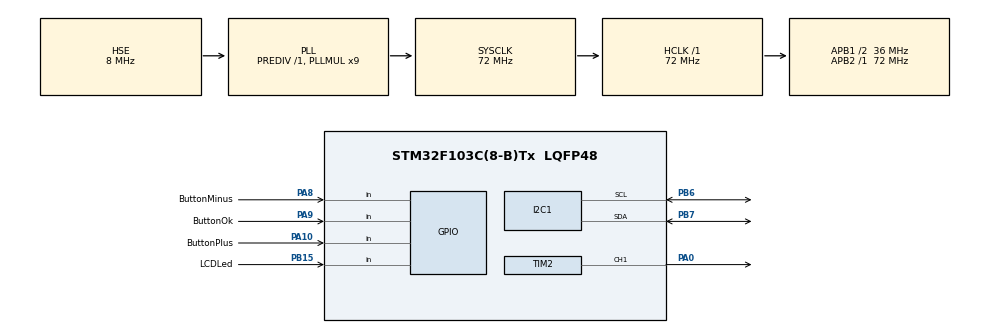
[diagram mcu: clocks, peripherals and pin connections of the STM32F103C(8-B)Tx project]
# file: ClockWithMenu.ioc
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Mcu.Family=STM32F1
Mcu.Name=STM32F103C(8-B)Tx
Mcu.Package=LQFP48
NVIC.PriorityGroup=NVIC_PRIORITYGROUP_4
PA0-WKUP.Signal=S_TIM2_CH1_ETR
PA10.GPIO_Label=ButtonPlus
PA10.Signal=GPIO_Input
PA13.Mode=Serial_Wire
PA13.Signal=SYS_JTMS-SWDIO
PA14.Mode=Serial_Wire
PA14.Signal=SYS_JTCK-SWCLK
PA8.GPIO_Label=ButtonMinus
PA8.Signal=GPIO_Input
PA9.GPIO_Label=ButtonOk
PA9.Signal=GPIO_Input
PB15.GPIO_Label=LCDLed
PB15.GPIO_PuPd=GPIO_PULLDOWN
PB15.Signal=GPIO_Input
PB6.Mode=I2C
PB6.Signal=I2C1_SCL
PB7.Mode=I2C
PB7.Signal=I2C1_SDA
PD0-OSC_IN.Mode=HSE-External-Oscillator
PD0-OSC_IN.Signal=RCC_OSC_IN
PD1-OSC_OUT.Mode=HSE-External-Oscillator
PD1-OSC_OUT.Signal=RCC_OSC_OUT
ProjectManager.HeapSize=0x200
ProjectManager.StackSize=0x400
ProjectManager.TargetToolchain=STM32CubeIDE
RCC.AHBFreq_Value=72000000
RCC.APB1CLKDivider=RCC_HCLK_DIV2
RCC.APB1Freq_Value=36000000
RCC.APB1TimFreq_Value=72000000
RCC.APB2Freq_Value=72000000
RCC.APB2TimFreq_Value=72000000
RCC.HCLKFreq_Value=72000000
RCC.PLLMUL=RCC_PLL_MUL9
RCC.PLLSourceVirtual=RCC_PLLSOURCE_HSE
RCC.SYSCLKFreq_VALUE=72000000
RCC.SYSCLKSource=RCC_SYSCLKSOURCE_PLLCLK
RCC.USBFreq_Value=72000000
SH.S_TIM2_CH1_ETR.0=TIM2_CH1,PWM Generation1 CH1
TIM2.Channel-PWM\ Generation1\ CH1=TIM_CHANNEL_1
TIM2.Period=1000
TIM2.Pulse-PWM\ Generation1\ CH1=500
VP_TIM2_VS_ClockSourceINT.Mode=Internal
board=custom

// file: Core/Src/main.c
/* USER CODE BEGIN Header */
/**
  ******************************************************************************
  * @file           : main.c
  * @brief          : Main program body
  ******************************************************************************
  * @attention
  *
  * Copyright (c) 2025 STMicroelectronics.
  * All rights reserved.
  *
  * This software is licensed under terms that can be found in the LICENSE file
  * in the root directory of this software component.
  * If no LICENSE file comes with this software, it is provided AS-IS.
  *
  ******************************************************************************
  */
/* USER CODE END Header */
#include "main.h"

/* USER CODE BEGIN Includes */
#include "RTC.h"
#include "liquidcrystal_i2c.h"
#include "stdio.h"
#include "stdlib.h"
#include "string.h"
#include "stdbool.h"
/* USER CODE END Includes */

/* USER CODE BEGIN PTD */
#define TIM_FREQ 72000000 ///< Frecuencia base para el cálculo del prescaler del temporizador.
/* USER CODE END PTD */

I2C_HandleTypeDef hi2c1;

TIM_HandleTypeDef htim2;

/* USER CODE BEGIN PV */

//------------------------------------------ MENUS ------------------------------------------//
/**
 * @brief Matrices que contienen las opciones de los menús.
 * Cada matriz representa un nivel diferente del menú.
 */
char *menu1[] = {"Configuracion", "Alarma", "Atras"}; ///< Menú principal.
int sizemenu1 = sizeof(menu1) / sizeof(menu1[0]); ///< Número de opciones en el menú principal.

char *menu2[] = {"Hora", "Fecha", "Atras"};
int sizemenu2 = sizeof(menu2) / sizeof(menu2[0]);

char *menu2_1[] = {"Encendido", "Configuracion", "SIG", "Atras"};
int sizemenu2_1 = sizeof(menu2_1) / sizeof(menu2_1[0]);

char *menu3_1[] = {"Hora", "Minutos", "Segundos", "Atras"}; ///< Opciones para la configuración de la hora.
int sizemenu3_1 = sizeof(menu3_1) / sizeof(menu3_1[0]);

char *menu3_2[] = {"Dia", "Mes", "Ano", "Atras"}; ///< Opciones para la configuración de la fecha.
int sizemenu3_2 = sizeof(menu3_2) / sizeof(menu3_2[0]);

char *menu3_3[] = {"ON", "OFF", "Atras"}; ///< Opciones para encender/apagar alarma o señal.
int sizemenu3_3 = sizeof(menu3_3) / sizeof(menu3_3[0]);

char *menu4[] = {"++", "--", "Atras"}; ///< Opciones para ajustar valores (incremento/decremento).
int sizemenu4 = sizeof(menu4) / sizeof(menu4[0]);

char *menu4_1[] = {"Reset", "Atras"}; ///< Opciones para resetear valores.
int sizemenu4_1 = sizeof(menu4_1) / sizeof(menu4_1[0]);

/**
 * @brief Buffers para las cadenas mostradas en la pantalla LCD.
 */
char linea1[20];
char linea2[20];
char linea3[20];
char linea4[20];

/**
 * @brief Variables para el control de los niveles del menú.
 */
int level_menu  = 0;
int level2_menu = 0;
int level3_menu = 0;
int level4_menu = 0;

int contador = 0; ///< Control de desplazamiento entre las opciones del menú.

bool btnpress = false; ///< Estado del botón OK.

//-------------------------------------------------------------------------------------------//

/**
 * @brief Buffers para datos adicionales como temperatura y humedad.
 */
char buffer[20];
char bufferSemana[10];
char *nombre;
int dia_semana_num;

/* Variables para la temperatura y humedad */
float temperaturaF, humedadF;
int temperaturaInt, humedadInt;

/* USER CODE END PV */

void SystemClock_Config(void);
static void MX_GPIO_Init(void);
static void MX_I2C1_Init(void);
static void MX_TIM2_Init(void);
/* USER CODE BEGIN PFP */

//-------------- Reloj --------------//
//Algoritmo de Zeller
/**
 * @brief Algoritmo de Zeller para determinar el día de la semana.
 * @param d Día del mes.
 * @param m Mes (ajustado para enero y febrero).
 * @param a Año.
 * @return Número del día de la semana (0=sábado, 1=domingo, ...).
 */
int dia_semana(int d, int m, int a);

/**
 * @brief Devuelve el nombre del día de la semana.
 * @param dia Número del día (0=sábado, 1=domingo, ...).
 * @return Cadena con el nombre del día.
 */
char* nombre_dia(int dia);
//-----------------------------------//

//-------------- MENU --------------//
/**
 * @brief Lógica principal para manejar las opciones del menú.
 */
void selectOption(void);

/**
 * @brief Cambia entre opciones del menú usando botones de incremento y decremento.
 * @param sizemenu Número de opciones en el menú actual.
 * @return true si hubo un cambio, false en caso contrario.
 */
bool fnSwitch(uint8_t sizemenu);

/**
 * @brief Muestra las opciones del menú actual en la pantalla LCD.
 * @param pos Posición actual dentro del menú.
 * @param menus Puntero al arreglo de opciones del menú.
 * @param sizemenu Tamaño del arreglo del menú.
 */
void fn_menu(int pos, char *menus[], uint8_t sizemenu);

/**
 * @brief Imprime el valor actual de una variable en la pantalla LCD.
 * @param label Etiqueta del valor (por ejemplo, "Hora").
 * @param value Valor a mostrar.
 */
void printCurrentValue(const char* label, int value);
//---------------------------------//

/**
 * @brief Calcula el prescaler necesario para una frecuencia deseada.
 * @param frequency Frecuencia deseada en Hz.
 * @return Valor del prescaler.
 */
int presForFrequency (int frequency);

/**
 * @brief Alterna el estado del retroiluminado de la pantalla LCD.
 */
void Toggle_Backlight(void);

/* USER CODE END PFP */

/* USER CODE BEGIN 0 */

// Variable para mantener el estado del retroiluminado
uint8_t backlightState = 0; // 0: Apagado, 1: Encendido
uint8_t previousButtonState = GPIO_PIN_RESET;
uint8_t currentButtonState;

//------ Control reloj ------//
TIME time;
ALARM1 alarma;

//Encendido de Alarma
bool Alarma = true;

//Encendido de SIG
bool SIG = true;
//---------------------------//

uint32_t lastUpdateTime = 0; // Variable para almacenar el último tiempo de actualización
const uint32_t updateInterval = 1000; // Intervalo de actualización en ms

float lastTemperaturaInt = -1.0; // Valor anterior de la temperatura para comparar
float lastHumedadInt = -1.0;     // Valor anterior de la humedad para comparar

int cadenaTemperatura = 0;		// Variable para controlar la cadena de actualización de temperatura
int lastCadenaTemperatura = -1; // Último valor de la cadena de temperatura

int anioBisiesto;

/* USER CODE END 0 */

int main(void)
{

  /* MCU Configuration--------------------------------------------------------*/

  /* Reset of all peripherals, Initializes the Flash interface and the Systick. */
  HAL_Init();

  /* Configure the system clock */
  SystemClock_Config();

  /* Initialize all configured peripherals */
  MX_GPIO_Init();
  MX_I2C1_Init();
  MX_TIM2_Init();
  /* USER CODE BEGIN 2 */

  //---------------- LCD ----------------//
  HD44780_Init(4);
  HD44780_Clear();
  HD44780_Backlight();
  //-------------------------------------//

  //---------------- Temperatura y humedad ----------------//
  // Inicialización de sensores.
  SI7021_Init();
  //-------------------------------------------------------//

  HAL_TIM_PWM_Start(&htim2, TIM_CHANNEL_1);

  //Si es la primera vez que se configura el módulo RTC, primero programar con la siguiente línea
  //RTC_SetTime(0, 0, 0, 1, 1, 25);
  //RTC_SetAlarm1(0, 0, 0);

  /* USER CODE END 2 */

  /* Infinite loop */
  /* USER CODE BEGIN WHILE */
  while (1)
  {
      // Actualizar la hora y la alarma desde el RTC.
      RTC_GetTime(&time);
      RTC_GetAlarm1(&alarma);

      // Determinar el día de la semana basado en la fecha actual.
      dia_semana_num = dia_semana(time.dayofmonth, time.month, time.year);
      nombre = nombre_dia(dia_semana_num);
	  /*---------------------------------------- */

      // Manejo de las opciones del menú.
      selectOption();

      // Actualizar datos de temperatura y humedad cada segundo.
      if (HAL_GetTick() - lastUpdateTime >= updateInterval)
      {
          Get_SI7021(&temperaturaF, &humedadF);

		  // Actualizar la temperatura solo si ha cambiado.
          if (lastHumedadInt != humedadF)
          {
              humedadInt = (int)humedadF;
          }

          lastUpdateTime = HAL_GetTick(); // Actualiza el límite de referencia.
      }

	  // PANTALLA PRINCIPAL
      // Lógica para la pantalla principal del sistema.
	  if(level_menu == 0)
	  {
		  // Mostrar hora.
		  sprintf(buffer, "%02d:%02d:%02d   ", time.hour, time.minutes, time.seconds);
		  HD44780_SetCursor(0, 0);
		  HD44780_PrintStr(buffer);

		  // Mostrar día de la semana.
		  HD44780_SetCursor(11, 0);
		  HD44780_PrintStr(nombre);

		  // Mostrar fecha.
		  sprintf(buffer, "%02d-%02d-20%02d     ", time.dayofmonth, time.month, time.year);
		  HD44780_SetCursor(0, 1);
		  HD44780_PrintStr(buffer);

          // Mostrar temperatura.
          sprintf(buffer, "T = %.1f", temperaturaF);
          HD44780_SetCursor(0, 2);
          HD44780_PrintStr(buffer);
          HD44780_PrintSpecialChar(6); // Símbolo de grados.
          HD44780_PrintStr("C");

          // Mostrar humedad.
          sprintf(buffer, "H = %02d %%", humedadInt);
          HD44780_SetCursor(0, 3);
          HD44780_PrintStr(buffer);

          // Manejo de señal SIG.
          if (SIG == true)
          {
              HD44780_SetCursor(15, 1);
              HD44780_PrintStr("SIG");

              if ((time.minutes == 0) && (time.seconds == 0))
              {
                  __HAL_TIM_SET_PRESCALER(&htim2, presForFrequency(7100));
                  HAL_Delay(250);
                  __HAL_TIM_SET_PRESCALER(&htim2, presForFrequency(0));
              }
          }

          // Manejo de alarma.
          if (Alarma == true)
          {
              sprintf(buffer, "%02d:%02d:%02d", alarma.hour, alarma.minutes, alarma.seconds);
              HD44780_SetCursor(12, 2);
              HD44780_PrintStr(buffer);

              HD44780_SetCursor(19, 1);
              HD44780_PrintSpecialChar(5);

              if ((alarma.hour == time.hour) && (alarma.minutes == time.minutes) && (alarma.seconds == time.seconds))
              {
                  __HAL_TIM_SET_PRESCALER(&htim2, presForFrequency(8700));
                  HAL_Delay(125);
                  __HAL_TIM_SET_PRESCALER(&htim2, presForFrequency(7100));
                  HAL_Delay(125);
                  __HAL_TIM_SET_PRESCALER(&htim2, presForFrequency(8700));
                  HAL_Delay(125);
                  __HAL_TIM_SET_PRESCALER(&htim2, presForFrequency(7100));
                  HAL_Delay(125);
                  __HAL_TIM_SET_PRESCALER(&htim2, presForFrequency(8700));
                  HAL_Delay(125);
                  __HAL_TIM_SET_PRESCALER(&htim2, presForFrequency(0));
              }
          }
          else if(Alarma == false)
	      {
	    	  sprintf(buffer, "        ");
	    	  HD44780_SetCursor(12, 2);
	    	  HD44780_PrintStr(buffer);
	      }

          // Entrar al menú principal al presionar el botón.
          if (btnpress)
          {
              level_menu = 1;
              fn_menu(contador, menu1, sizemenu1);
              btnpress = false;
          }
	  }

	  // MENU 1 PRINCIPAL
      // Lógica para el menú principal.
      if (level_menu == 1)
      {
          // Navegar entre opciones del menú principal.
          if (fnSwitch(sizemenu1))
          {
              fn_menu(contador, menu1, sizemenu1);
          }

          // Selección de opciones en el menú principal.
          if (btnpress)
          {
              if (contador == 0) // Configuración.
              {
                  contador = 0;
                  fn_menu(contador, menu2, sizemenu2);
                  level_menu = 2;
              }
              else if (contador == 1) // Mostrar Alarma.
              {
                  contador = 0;
                  fn_menu(contador, menu2_1, sizemenu2_1);
                  level_menu = 3;
              }
              else if (contador == 2) // Atrás.
              {
                  contador = 0;
                  level_menu = 0;
              }
              btnpress = false;
          }
      }

	  // Detección del botón y alternar el estado del retroiluminado
	  currentButtonState = HAL_GPIO_ReadPin(LCDLed_GPIO_Port, LCDLed_Pin);
	  if (currentButtonState == GPIO_PIN_SET && previousButtonState == GPIO_PIN_RESET)
	  {
		  Toggle_Backlight();
	  }
	  previousButtonState = currentButtonState;

	  // MENU 2 {"HORA", "FECHA", "ATRAS"}
	  if (level_menu == 2)
	  {
		  if (level2_menu == 0)
		  {
			  if (fnSwitch(sizemenu2))
			  {
				  fn_menu(contador, menu2, sizemenu2);
			  }
			  if (btnpress)
			  {
				  if (contador == 0) //HORA
				  {
					  contador = 0;
					  fn_menu(contador, menu3_1, sizemenu3_1);
					  level2_menu = 1;
				  }
				  else if (contador == 1) //FECHA
				  {
					  contador = 0;
					  fn_menu(contador, menu3_2, sizemenu3_2);
					  level2_menu = 2;
				  }
				  else if (contador == 2) //ATRAS
				  {
					  contador = 0;
					  fn_menu(contador, menu1, sizemenu1);
					  level_menu = 1;
				  }
				  btnpress = false;
			  }
		  }

		  // MENU 3_1 : {"Hora", "Minutos", "Segundos", "Atras"}
		  if (level2_menu == 1)
		  {
			  if(level3_menu == 0)
			  {
				  if (fnSwitch(sizemenu3_1))
				  {
					  fn_menu(contador, menu3_1, sizemenu3_1);
				  }
				  if (btnpress)
				  {
					  if (contador == 0) //Hora
					  {
						  contador = 0;
						  fn_menu(contador, menu4, sizemenu4);
						  level3_menu = 1;
					  }
					  else if (contador == 1) //Minutos
					  {
						  contador = 0;
						  fn_menu(contador, menu4, sizemenu4);
						  level3_menu = 2;
					  }
					  else if (contador == 2) //Segundos
					  {
						  contador = 0;
						  fn_menu(contador, menu4_1, sizemenu4_1);
						  level3_menu = 3;
					  }
					  else if (contador == 3) //Atrás
					  {
						  contador = 0;
						  fn_menu(contador, menu2, sizemenu2);
						  level2_menu = 0;
					  }
					  btnpress = false;
				  }
			  }
		  }

		  // MENU 3_2: Configuración de Fecha
		  if (level2_menu == 2)
		  {
			  if(level3_menu == 0)
			  {
				  if (fnSwitch(sizemenu3_2))
				  {
					  fn_menu(contador, menu3_2, sizemenu3_2);
				  }
				  if (btnpress)
				  {
					  if (contador == 0) //Dia
					  {
						  contador = 0;
						  fn_menu(contador, menu4, sizemenu4);
						  level3_menu = 4;
					  }
					  else if (contador == 1) //Mes
					  {
						  contador = 0;
						  fn_menu(contador, menu4, sizemenu4);
						  level3_menu = 5;
					  }
					  else if (contador == 2) //Año
					  {
						  contador = 0;
						  fn_menu(contador, menu4, sizemenu4);
						  level3_menu = 6;
					  }
					  else if (contador == 3) //Atrás
					  {
						  contador = 0;
						  fn_menu(contador, menu2, sizemenu2);
						  level2_menu = 0;
					  }
					  btnpress = false;
				  }
			  }
		  }

		  // Configuración Horas
		  if (level3_menu == 1)
		  {
			  if (fnSwitch(sizemenu4))
			  {
				  fn_menu(contador, menu4, sizemenu4);
				  printCurrentValue("Hora", time.hour);
			  }
			  if (btnpress)
			  {
				  printCurrentValue("Hora", time.hour);
				  if (contador == 0) //++
				  {
					  time.hour++;
					  if(time.hour > 23)
					  {
						  time.hour = 0;
					  }
					  RTC_SetTime(time.hour, time.minutes, time.seconds, time.dayofmonth, time.month, time.year);
				  }
				  else if (contador == 1) //--
				  {
					  time.hour--;
					  if(time.hour < 0)
					  {
						  time.hour = 23;
					  }
					  RTC_SetTime(time.hour, time.minutes, time.seconds, time.dayofmonth, time.month, time.year);
				  }
				  else if (contador == 2) //Atras
				  {
					  contador = 0;
					  fn_menu(contador, menu3_1, sizemenu3_1);
					  level3_menu = 0;
				  }
				  printCurrentValue("Hora", time.hour);
				  btnpress = false;
			  }
		  }

		  // Configuración minutos
		  if (level3_menu == 2)
		  {
			  if (fnSwitch(sizemenu4))
			  {
				  fn_menu(contador, menu4, sizemenu4);
				  printCurrentValue("Minutos", time.minutes);
			  }
			  if (btnpress)
			  {
				  printCurrentValue("Minutos", time.minutes);
				  if (contador == 0) //++
				  {
					  time.minutes++;
					  if(time.minutes > 59)
					  {
						  time.minutes = 0;
					  }
					  RTC_SetTime(time.hour, time.minutes, time.seconds, time.dayofmonth, time.month, time.year);
				  }
				  else if (contador == 1) //--
				  {
					  time.minutes--;
					  if(time.minutes <= 0)
					  {
						  time.minutes = 0;
					  }
					  RTC_SetTime(time.hour, time.minutes, time.seconds, time.dayofmonth, time.month, time.year);
				  }
				  else if (contador == 2) //Atras
				  {
					  contador = 0;
					  fn_menu(contador, menu3_1, sizemenu3_1);
					  level3_menu = 0;
				  }
				  printCurrentValue("Minutos", time.minutes);
				  btnpress = false;
			  }
		  }

		  // Configuración segundos
		  if (level3_menu == 3)
		  {
			  if (fnSwitch(sizemenu4_1))
			  {
				  fn_menu(contador, menu4_1, sizemenu4_1);
				  printCurrentValue("Segundos", time.seconds);
			  }
			  if (btnpress)
			  {
				  printCurrentValue("Segundos", time.seconds);
				  if (contador == 0) //Reset
				  {
					  time.seconds = 0;
					  RTC_SetTime(time.hour, time.minutes, time.seconds, time.dayofmonth, time.month, time.year);
				  }
				  else if (contador == 1) //Atras
				  {
					  contador = 0;
					  fn_menu(contador, menu3_1, sizemenu3_1);
					  level3_menu = 0;
				  }
				  printCurrentValue("Segundos", time.seconds);
				  btnpress = false;
			  }
		  }

		  /**
		   * @brief Configuración del día en el sistema de menús.
		   * Este bloque de código permite ajustar el día del mes en función del mes actual
		   * y considera años bisiestos para el mes de febrero.
		   */

		  // Configuración del día
		  // Summary: Este bloque maneja el incremento y la disminución del día del mes con lógica envolvente,
		  // asegurando límites correctos para cada mes y años bisiestos (febrero).).
		  if (level3_menu == 4)
		  {
			  // Manejo de cambios en el menú (botones incrementales y decrementales)
			  if (fnSwitch(sizemenu4))
			  {
				  // Mostrar opciones de menú e imprimir el valor actual del día
				  fn_menu(contador, menu4, sizemenu4);
				  printCurrentValue("Dia", time.dayofmonth);
			  }

			  // Manejo de la selección con el botón OK
			  if (btnpress)
			  {
				  printCurrentValue("Dia", time.dayofmonth);

				  if (contador == 0) // Incrementar el día (++).
		          {
		              time.dayofmonth++;

		              // Verificar el límite superior del día dependiendo del mes
		              if ((time.month == 1 || time.month == 3 || time.month == 5 || time.month == 7 ||
		                   time.month == 8 || time.month == 10 || time.month == 12) && time.dayofmonth > 31)
		              {
		                  time.dayofmonth = 1;
		              }
		              else if ((time.month == 4 || time.month == 6 || time.month == 9 || time.month == 11) && time.dayofmonth > 30)
		              {
		                  time.dayofmonth = 1;
		              }
		              else if (time.month == 2)
		              {
		                  // Verificar si el año es bisiesto para determinar los días de febrero
						  anioBisiesto = ((time.year % 4 == 0 && time.year % 100 != 0) || (time.year % 400 == 0));
						  if ((anioBisiesto && time.dayofmonth > 29) || (!anioBisiesto && time.dayofmonth > 28))
						  {
							  time.dayofmonth = 1;
						  }
		              }

		              // Actualizar la hora en el RTC con el nuevo día
		              RTC_SetTime(time.hour, time.minutes, time.seconds, time.dayofmonth, time.month, time.year);
		          }
		          else if (contador == 1) // Decrementar el día (--).
		          {
		              time.dayofmonth--;

		              // Verificar el límite inferior del día
		              if (time.dayofmonth < 1)
		              {
		                  if (time.month == 1 || time.month == 3 || time.month == 5 || time.month == 7 ||
		                      time.month == 8 || time.month == 10 || time.month == 12)
		                  {
		                      time.dayofmonth = 31;
		                  }
		                  else if (time.month == 4 || time.month == 6 || time.month == 9 || time.month == 11)
		                  {
		                      time.dayofmonth = 30;
		                  }
		                  else if (time.month == 2)
		                  {
		                      // Verificar si el año es bisiesto para determinar los días de febrero
							  anioBisiesto = ((time.year % 4 == 0 && time.year % 100 != 0) || (time.year % 400 == 0));
							  time.dayofmonth = anioBisiesto ? 29 : 28;
		                  }
		              }

		              // Actualizar la hora en el RTC con el nuevo día
		              RTC_SetTime(time.hour, time.minutes, time.seconds, time.dayofmonth, time.month, time.year);
		          }
		          else if (contador == 2) // Regresar al menú anterior.
		          {
		              contador = 0;
		              fn_menu(contador, menu3_2, sizemenu3_2);
		              level3_menu = 0;
		          }

		          // Imprimir el valor actualizado del día
		          printCurrentValue("Dia", time.dayofmonth);
		          btnpress = false; // Restablecer el estado del botón
		      }
		  }

		  // Configuración mes
		  if (level3_menu == 5)
		  {
			  if (fnSwitch(sizemenu4))
			  {
				  fn_menu(contador, menu4, sizemenu4);
				  printCurrentValue("Mes", time.month);
			  }
			  if (btnpress)
			  {
				  printCurrentValue("Mes", time.month);
				  if (contador == 0) //++
				  {
					  time.month++;
					  if(time.month > 12)
					  {
						  time.month = 1;
					  }
					  RTC_SetTime(time.hour, time.minutes, time.seconds, time.dayofmonth, time.month, time.year);
				  }
				  else if (contador == 1) //--
				  {
					  time.month--;
					  if(time.month <= 0)
					  {
						  time.month = 12;
					  }
					  RTC_SetTime(time.hour, time.minutes, time.seconds, time.dayofmonth, time.month, time.year);
				  }
				  else if (contador == 2) //Atras
				  {
					  contador = 0;
					  fn_menu(contador, menu3_2, sizemenu3_2);
					  level3_menu = 0;
				  }
				  printCurrentValue("Mes", time.month);
				  btnpress = false;
			  }
		  }

		  // Configuración año
		  if (level3_menu == 6)
		  {
			  if (fnSwitch(sizemenu4))
			  {
				  fn_menu(contador, menu4, sizemenu4);
				  printCurrentValue("Anio", time.year);
			  }
			  if (btnpress)
			  {
				  printCurrentValue("Anio", time.year);
				  if (contador == 0) //++
				  {
					  time.year++;
					  RTC_SetTime(time.hour, time.minutes, time.seconds, time.dayofmonth, time.month, time.year);
				  }
				  else if (contador == 1) //--
				  {
					  time.year--;
					  RTC_SetTime(time.hour, time.minutes, time.seconds, time.dayofmonth, time.month, time.year);
				  }
				  else if (contador == 2) //Atras
				  {
					  contador = 0;
					  fn_menu(contador, menu3_2, sizemenu3_2);
					  level3_menu = 0;
				  }
				  printCurrentValue("Anio", time.year);
				  btnpress = false;
			  }
		  }
	  }

	  if(level_menu == 3)
	  {
		  if (level2_menu == 0)
		  {
			  if (fnSwitch(sizemenu2_1))
			  {
				  fn_menu(contador, menu2_1, sizemenu2_1);
			  }
			  if (btnpress)
			  {
				  if (contador == 0) //Encendido
				  {
					  contador = 0;
					  fn_menu(contador, menu3_3, sizemenu3_3);
					  level2_menu = 1;
				  }
				  else if (contador == 1) //Configuracion
				  {
					  contador = 0;
					  fn_menu(contador, menu3_1, sizemenu3_1);
					  level2_menu = 2;
				  }
				  else if(contador == 2)	//SIG
				  {
					  contador = 0;
					  fn_menu(contador, menu3_3, sizemenu3_3);
					  level2_menu = 3;
				  }
				  else if (contador == 3) //ATRAS
				  {
					  contador = 0;
					  fn_menu(contador, menu1, sizemenu1);
					  level_menu = 1;
				  }
				  btnpress = false;
			  }
		  }

		  if(level2_menu == 1)
		  {
			  if (fnSwitch(sizemenu3_3))
			  {
				  fn_menu(contador, menu3_3, sizemenu3_3);
			  }
			  if (btnpress)
			  {
				  if (contador == 0) 		//ON
				  {
					  Alarma = true;
				  }
				  else if (contador == 1) //OFF
				  {
					  Alarma = false;
				  }
				  else if (contador == 2) //ATRAS
				  {
					  contador = 0;
					  fn_menu(contador, menu2_1, sizemenu2_1);
					  level2_menu = 0;
				  }
				  btnpress = false;
			  }
		  }

		  // MENU 3_1 : {"Hora", "Minutos", "Segundos"}
		  if (level2_menu == 2)
		  {
			  if(level3_menu == 0)
			  {
				  if (fnSwitch(sizemenu3_1))
				  {
					  fn_menu(contador, menu3_1, sizemenu3_1);
				  }
				  if (btnpress)
				  {
					  if (contador == 0) //Hora
					  {
						  contador = 0;
						  fn_menu(contador, menu4, sizemenu4);
						  level3_menu = 1;
					  }
					  else if (contador == 1) //Minutos
					  {
						  contador = 0;
						  fn_menu(contador, menu4, sizemenu4);
						  level3_menu = 2;
					  }
					  else if (contador == 2) //Segundos
					  {
						  contador = 0;
						  fn_menu(contador, menu4, sizemenu4);
						  level3_menu = 3;
					  }
					  else if (contador == 3) //Atrás
					  {
						  contador = 0;
						  fn_menu(contador, menu2_1, sizemenu2_1);
						  level2_menu = 0;
					  }
					  btnpress = false;
				  }
			  }
		  }

		  if(level2_menu == 3)
		  {
			  if (fnSwitch(sizemenu3_3))
			  {
				  fn_menu(contador, menu3_3, sizemenu3_3);
			  }
			  if (btnpress)
			  {
				  if (contador == 0) 		//ON
				  {
					  SIG = true;
				  }
				  else if (contador == 1) //OFF
				  {
					  SIG = false;
				  }
				  else if (contador == 2) //ATRAS
				  {
					  contador = 0;
					  fn_menu(contador, menu2_1, sizemenu2_1);
					  level2_menu = 0;
				  }
				  btnpress = false;
			  }
		  }

		  // Configuración Horas
		  if (level3_menu == 1)
		  {
			  if (fnSwitch(sizemenu4))
			  {
				  fn_menu(contador, menu4, sizemenu4);
				  printCurrentValue("AlarmH", alarma.hour);
			  }
			  if (btnpress)
			  {
				  printCurrentValue("AlarmH", alarma.hour);
				  if (contador == 0) //++
				  {
					  alarma.hour = adjustHour(alarma.hour, 1);
					  RTC_SetAlarm1(alarma.hour, alarma.minutes, alarma.seconds);
				  }
				  else if (contador == 1) //--
				  {
					  alarma.hour = adjustHour(alarma.hour, -1);
					  RTC_SetAlarm1(alarma.hour, alarma.minutes, alarma.seconds);
				  }
				  else if (contador == 2) //Atras
				  {
					  contador = 0;
					  fn_menu(contador, menu3_1, sizemenu3_1);
					  level3_menu = 0;
				  }
				  printCurrentValue("AlarmH", alarma.hour);
				  btnpress = false;
			  }
		  }

		  // Configuración minutos
		  if (level3_menu == 2)
		  {
			  if (fnSwitch(sizemenu4))
			  {
				  fn_menu(contador, menu4, sizemenu4);
				  printCurrentValue("AlarmM", alarma.minutes);
			  }
			  if (btnpress)
			  {
				  printCurrentValue("AlarmM", alarma.minutes);
				  if (contador == 0) //++
				  {
					  alarma.minutes++;
					  if(alarma.minutes > 59)
					  {
						  alarma.minutes = 0;
					  }
					  RTC_SetAlarm1(alarma.hour, alarma.minutes, alarma.seconds);
				  }
				  else if (contador == 1) //--
				  {
					  alarma.minutes--;
					  // Si ocurre underflow (menor que 0), volver a 59
					  if(alarma.minutes == 0)
					  {
						  alarma.minutes = 59;
					  }
					  RTC_SetAlarm1(alarma.hour, alarma.minutes, alarma.seconds);
				  }
				  else if (contador == 2) //Atras
				  {
					  contador = 0;
					  fn_menu(contador, menu3_1, sizemenu3_1);
					  level3_menu = 0;
				  }
				  printCurrentValue("AlarmM", alarma.minutes);
				  btnpress = false;
			  }
		  }

		  // Configuración segundos
		  if (level3_menu == 3)
		  {
			  if (fnSwitch(sizemenu4))
			  {
				  fn_menu(contador, menu4, sizemenu4);
				  printCurrentValue("AlarmS", alarma.seconds);
			  }
			  if (btnpress)
			  {
				  printCurrentValue("AlarmS", alarma.seconds);
				  if (contador == 0) //++
				  {
					  alarma.seconds++;
					  if(alarma.seconds > 59)
					  {
						  alarma.seconds = 0;
					  }
					  RTC_SetAlarm1(alarma.hour, alarma.minutes, alarma.seconds);
				  }
				  else if (contador == 1) //--
				  {
					  alarma.seconds--;
					  if(alarma.seconds < 0)
					  {
						  alarma.seconds = 59;
					  }
					  RTC_SetAlarm1(alarma.hour, alarma.minutes, alarma.seconds);
				  }
				  else if (contador == 2) //Atras
				  {
					  contador = 0;
					  fn_menu(contador, menu3_1, sizemenu3_1);
					  level3_menu = 0;
				  }
				  printCurrentValue("AlarmS", alarma.seconds);
				  btnpress = false;
			  }
		  }
	  }

    /* USER CODE END WHILE */

  }
}

void SystemClock_Config(void)
{
  RCC_OscInitTypeDef RCC_OscInitStruct = {0};
  RCC_ClkInitTypeDef RCC_ClkInitStruct = {0};

  /** Initializes the RCC Oscillators according to the specified parameters
  * in the RCC_OscInitTypeDef structure.
  */
  RCC_OscInitStruct.OscillatorType = RCC_OSCILLATORTYPE_HSE;
  RCC_OscInitStruct.HSEState = RCC_HSE_ON;
  RCC_OscInitStruct.HSEPredivValue = RCC_HSE_PREDIV_DIV1;
  RCC_OscInitStruct.HSIState = RCC_HSI_ON;
  RCC_OscInitStruct.PLL.PLLState = RCC_PLL_ON;
  RCC_OscInitStruct.PLL.PLLSource = RCC_PLLSOURCE_HSE;
  RCC_OscInitStruct.PLL.PLLMUL = RCC_PLL_MUL9;
  if (HAL_RCC_OscConfig(&RCC_OscInitStruct) != HAL_OK)
  {
    Error_Handler();
  }

  /** Initializes the CPU, AHB and APB buses clocks
  */
  RCC_ClkInitStruct.ClockType = RCC_CLOCKTYPE_HCLK|RCC_CLOCKTYPE_SYSCLK
                              |RCC_CLOCKTYPE_PCLK1|RCC_CLOCKTYPE_PCLK2;
  RCC_ClkInitStruct.SYSCLKSource = RCC_SYSCLKSOURCE_PLLCLK;
  RCC_ClkInitStruct.AHBCLKDivider = RCC_SYSCLK_DIV1;
  RCC_ClkInitStruct.APB1CLKDivider = RCC_HCLK_DIV2;
  RCC_ClkInitStruct.APB2CLKDivider = RCC_HCLK_DIV1;

  if (HAL_RCC_ClockConfig(&RCC_ClkInitStruct, FLASH_LATENCY_2) != HAL_OK)
  {
    Error_Handler();
  }
}

static void MX_I2C1_Init(void)
{

  hi2c1.Instance = I2C1;
  hi2c1.Init.ClockSpeed = 100000;
  hi2c1.Init.DutyCycle = I2C_DUTYCYCLE_2;
  hi2c1.Init.OwnAddress1 = 0;
  hi2c1.Init.AddressingMode = I2C_ADDRESSINGMODE_7BIT;
  hi2c1.Init.DualAddressMode = I2C_DUALADDRESS_DISABLE;
  hi2c1.Init.OwnAddress2 = 0;
  hi2c1.Init.GeneralCallMode = I2C_GENERALCALL_DISABLE;
  hi2c1.Init.NoStretchMode = I2C_NOSTRETCH_DISABLE;
  if (HAL_I2C_Init(&hi2c1) != HAL_OK)
  {
    Error_Handler();
  }

}

static void MX_TIM2_Init(void)
{

  TIM_ClockConfigTypeDef sClockSourceConfig = {0};
  TIM_MasterConfigTypeDef sMasterConfig = {0};
  TIM_OC_InitTypeDef sConfigOC = {0};

  htim2.Instance = TIM2;
  htim2.Init.Prescaler = 0;
  htim2.Init.CounterMode = TIM_COUNTERMODE_UP;
  htim2.Init.Period = 1000;
  htim2.Init.ClockDivision = TIM_CLOCKDIVISION_DIV1;
  htim2.Init.AutoReloadPreload = TIM_AUTORELOAD_PRELOAD_DISABLE;
  if (HAL_TIM_Base_Init(&htim2) != HAL_OK)
  {
    Error_Handler();
  }
  sClockSourceConfig.ClockSource = TIM_CLOCKSOURCE_INTERNAL;
  if (HAL_TIM_ConfigClockSource(&htim2, &sClockSourceConfig) != HAL_OK)
  {
    Error_Handler();
  }
  if (HAL_TIM_PWM_Init(&htim2) != HAL_OK)
  {
    Error_Handler();
  }
  sMasterConfig.MasterOutputTrigger = TIM_TRGO_RESET;
  sMasterConfig.MasterSlaveMode = TIM_MASTERSLAVEMODE_DISABLE;
  if (HAL_TIMEx_MasterConfigSynchronization(&htim2, &sMasterConfig) != HAL_OK)
  {
    Error_Handler();
  }
  sConfigOC.OCMode = TIM_OCMODE_PWM1;
  sConfigOC.Pulse = 500;
  sConfigOC.OCPolarity = TIM_OCPOLARITY_HIGH;
  sConfigOC.OCFastMode = TIM_OCFAST_DISABLE;
  if (HAL_TIM_PWM_ConfigChannel(&htim2, &sConfigOC, TIM_CHANNEL_1) != HAL_OK)
  {
    Error_Handler();
  }
  HAL_TIM_MspPostInit(&htim2);

}

static void MX_GPIO_Init(void)
{
  GPIO_InitTypeDef GPIO_InitStruct = {0};

  /* GPIO Ports Clock Enable */
  __HAL_RCC_GPIOD_CLK_ENABLE();
  __HAL_RCC_GPIOA_CLK_ENABLE();
  __HAL_RCC_GPIOB_CLK_ENABLE();

  /*Configure GPIO pin : LCDLed_Pin */
  GPIO_InitStruct.Pin = LCDLed_Pin;
  GPIO_InitStruct.Mode = GPIO_MODE_INPUT;
  GPIO_InitStruct.Pull = GPIO_PULLDOWN;
  HAL_GPIO_Init(LCDLed_GPIO_Port, &GPIO_InitStruct);

  /*Configure GPIO pins : ButtonMinus_Pin ButtonOk_Pin ButtonPlus_Pin */
  GPIO_InitStruct.Pin = ButtonMinus_Pin|ButtonOk_Pin|ButtonPlus_Pin;
  GPIO_InitStruct.Mode = GPIO_MODE_INPUT;
  GPIO_InitStruct.Pull = GPIO_NOPULL;
  HAL_GPIO_Init(GPIOA, &GPIO_InitStruct);

}

/* USER CODE BEGIN 4 */
/**
 * @brief Algoritmo de Zeller para calcular el día de la semana basado en la fecha.
 * @param d Día del mes (1-31).
 * @param m Mes del año (1-12).
 * @param a Año completo (por ejemplo, 2025).
 * @return Número del día de la semana (0=Sábado, 1=Domingo, ..., 6=Viernes).
 */
int dia_semana(int d, int m, int a)
{
    if (m < 3)
    {
        m += 12;
        a--;
    }
    int y = a % 100;
    int c = a / 100;
    int w = (d + (13 * (m + 1)) / 5 + y + y / 4 + c / 4 - 2 * c) % 7;
    return w;
}

/**
 * @brief Devuelve el nombre del día de la semana.
 * @param dia Número del día de la semana (0=Sábado, ..., 6=Viernes).
 * @return Nombre del día de la semana como cadena.
 */
char* nombre_dia(int dia)
{
    char *dias[] = {"Sabado", "Domingo", "Lunes", "Martes", "Miercoles", "Jueves", "Viernes"};
    return dias[dia];
}

/**
 * @brief Detecta la pulsación del botón OK y actualiza la variable btnpress.
 */
void selectOption(void)
{
    if (HAL_GPIO_ReadPin(ButtonOk_GPIO_Port, ButtonOk_Pin) == GPIO_PIN_SET)
    {
        HAL_Delay(500); // Anti-rebote.
        btnpress = true;
    }
}

/**
 * @brief Cambia entre opciones de un menú usando botones de incremento y decremento.
 * @param sizemenu Cantidad de opciones en el menú actual.
 * @return true si se realizó un cambio, false en caso contrario.
 */
bool fnSwitch(uint8_t sizemenu)
{
	static uint32_t lastButtonTime = 0;
	const uint32_t debounceDelay = 250; // ms
	bool retorno = false;

	uint32_t now = HAL_GetTick();

	if ((HAL_GPIO_ReadPin(ButtonPlus_GPIO_Port, ButtonPlus_Pin) == GPIO_PIN_SET ||
		 HAL_GPIO_ReadPin(ButtonMinus_GPIO_Port, ButtonMinus_Pin) == GPIO_PIN_SET) &&
		(now - lastButtonTime > debounceDelay))
	{
		if (HAL_GPIO_ReadPin(ButtonPlus_GPIO_Port, ButtonPlus_Pin) == GPIO_PIN_SET)
		{
			contador++;
		}
		else if (HAL_GPIO_ReadPin(ButtonMinus_GPIO_Port, ButtonMinus_Pin) == GPIO_PIN_SET)
		{
			contador--;
		}

		// Ajustar el contador al rango permitido con wrap-around.
		if (contador < 0)
			contador = sizemenu - 1;
		if (contador >= sizemenu)
			contador = 0;

		lastButtonTime = now;
		retorno = true;
	}
	return retorno;
}

/**
 * @brief Muestra las opciones de un menú en la pantalla LCD, con la opción seleccionada indicada.
 * @param pos Posición actual en el menú.
 * @param menus Arreglo de cadenas con las opciones del menú.
 * @param sizemenu Número total de opciones en el menú.
 */
void fn_menu(int pos, char *menus[], uint8_t sizemenu)
{
    HD44780_Clear();

    // Resetear líneas del LCD.
    strcpy(linea1, "");
    strcpy(linea2, "");
    strcpy(linea3, "");
    strcpy(linea4, "");

    // Asignar opciones a las líneas según la posición actual.
    if ((pos % 4) == 0)
    {
        HD44780_SetCursor(0, 0);
        HD44780_PrintSpecialChar(4); // Indicar opción seleccionada.
        strcpy(linea1, menus[pos]);
        if (pos + 1 < sizemenu) strcpy(linea2, menus[pos + 1]);
        if (pos + 2 < sizemenu) strcpy(linea3, menus[pos + 2]);
        if (pos + 3 < sizemenu) strcpy(linea4, menus[pos + 3]);
    }
    else if ((pos % 4) == 1)
    {
        strcpy(linea1, menus[pos - 1]);
        HD44780_SetCursor(0, 1);
        HD44780_PrintSpecialChar(4);
        strcpy(linea2, menus[pos]);
        if (pos + 1 < sizemenu) strcpy(linea3, menus[pos + 1]);
        if (pos + 2 < sizemenu) strcpy(linea4, menus[pos + 2]);
    }
    else if ((pos % 4) == 2)
    {
        strcpy(linea1, menus[pos - 2]);
        strcpy(linea2, menus[pos - 1]);
        HD44780_SetCursor(0, 2);
        HD44780_PrintSpecialChar(4);
        strcpy(linea3, menus[pos]);
        if (pos + 1 < sizemenu) strcpy(linea4, menus[pos + 1]);
    }
    else
    {
        strcpy(linea1, menus[pos - 3]);
        strcpy(linea2, menus[pos - 2]);
        strcpy(linea3, menus[pos - 1]);
        HD44780_SetCursor(0, 3);
        HD44780_PrintSpecialChar(4);
        strcpy(linea4, menus[pos]);
    }

    // Imprimir las líneas en el LCD.
    HD44780_SetCursor(1, 0);
    HD44780_PrintStr(linea1);
    HD44780_SetCursor(1, 1);
    HD44780_PrintStr(linea2);
    HD44780_SetCursor(1, 2);
    HD44780_PrintStr(linea3);
    HD44780_SetCursor(1, 3);
    HD44780_PrintStr(linea4);
}

/**
 * @brief Imprime el valor actual de una variable en la pantalla LCD.
 * @param label Etiqueta descriptiva del valor.
 * @param value Valor numérico a mostrar.
 */
void printCurrentValue(const char* label, int value)
{
	char buffer[21];
	char truncatedLabel[11]; // Permitir hasta 10 caracteres para la etiqueta
	strncpy(truncatedLabel, label, 10);
	truncatedLabel[10] = '\0';
	sprintf(buffer, "%s: %02d", truncatedLabel, value);

	// Calcular la columna de inicio para que la cadena quepa en 20 caracteres
	int startCol = 20 - strlen(buffer);
	if (startCol < 0) startCol = 0;

	HD44780_SetCursor(startCol, 3);
	HD44780_PrintStr(buffer);
}

/**
 * @brief Calcula el valor del prescaler para obtener la frecuencia deseada.
 * @param frequency Frecuencia deseada en Hz.
 * @return Valor del prescaler calculado.
 */
int presForFrequency(int frequency)
{
    if (frequency == 0) return 0;
    return ((TIM_FREQ / (1000 * frequency)) - 1); // Fórmula para prescaler.
}

/**
 * @brief Alterna entre encender y apagar el retroiluminado del LCD.
 */
void Toggle_Backlight(void)
{
    if (backlightState)
    {
        HD44780_NoBacklight();
        backlightState = 0;
    }
    else
    {
        HD44780_Backlight();
        backlightState = 1;
    }
}
/**
 * @brief Ajusta la hora de la alarma con wrap-around.
 * @param hour Hora actual.
 * @param delta +1 para incrementar, -1 para decrementar.
 * @return Nueva hora ajustada.
 */
int adjustHour(int hour, int delta)
{
	hour += delta;
	if (hour > 23)
		hour = 0;
	else if (hour < 0)
		hour = 23;
	return hour;
}

/* USER CODE END 4 */

void Error_Handler(void)
{
  __disable_irq();
  while (1)
  {
  }
}
